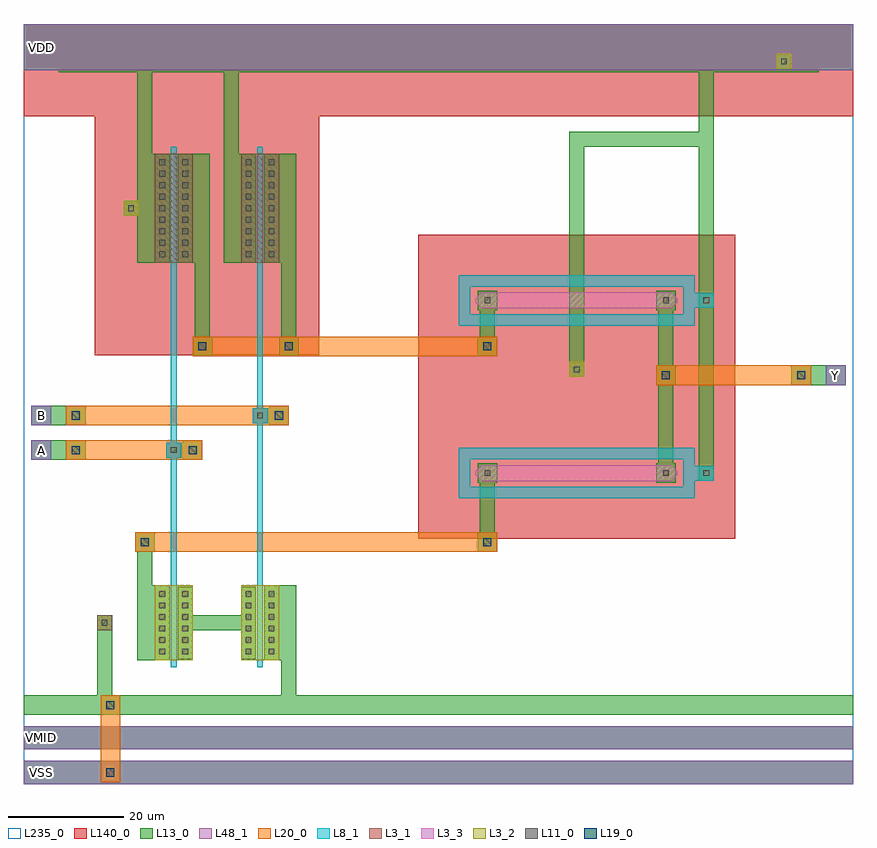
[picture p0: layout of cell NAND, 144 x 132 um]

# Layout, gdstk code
import gdstk
lib = gdstk.Library(unit=1e-6, precision=1e-09)
def R(c, l, rs):  # rectangles x0, y0, x1, y1
    for r in rs: c.add(gdstk.rectangle(r[:2], r[2:], *l))
def A(c, l, x, y, w, h, nx, ny, dx, dy):  # array of equal rectangles
    R(c, l, [(x+i*dx, y+j*dy, x+i*dx+w, y+j*dy+h) for i in range(nx) for j in range(ny)])
def P(c, l, *ps):  # polygons
    for p in ps: c.add(gdstk.Polygon(p, *l))
L3_1 = (3, 1)
L3_2 = (3, 2)
L3_3 = (3, 3)
L8_1 = (8, 1)
L11_0 = (11, 0)
L13_0 = (13, 0)
L19_0 = (19, 0)
L20_0 = (20, 0)
L48_1 = (48, 1)
L140_0 = (140, 0)
L235_0 = (235, 0)

fet_p__nand = lib.new_cell('fet_p__NAND')
R(fet_p__nand, L3_1, [(-3.3,-9.5,3.3,9.5)])
A(fet_p__nand, L11_0, -2.5, -8.5, 1, 1, 1, 9, 0, 2)
A(fet_p__nand, L11_0, 1.5, -8.5, 1, 1, 1, 9, 0, 2)
R(fet_p__nand, L13_0, [(-3.3,-9.3,-0.7,9.3), (0.7,-9.3,3.3,9.3)])
fet_p__nand.add(gdstk.FlexPath([(0,-10.7),(0,10.7)], 1, ends="flush", simple_path=True, layer=8, datatype=1))  # L8_1

fet_n__nand = lib.new_cell('fet_n__NAND')
R(fet_n__nand, L3_2, [(-3.3,-6.5,3.3,6.5)])
A(fet_n__nand, L11_0, -2.5, -5.5, 1, 1, 1, 6, 0, 2)
A(fet_n__nand, L11_0, 1.5, -5.5, 1, 1, 1, 6, 0, 2)
R(fet_n__nand, L13_0, [(-3.3,-6.3,-0.7,6.3), (0.7,-6.3,3.3,6.3)])
fet_n__nand.add(gdstk.FlexPath([(0,-7.7),(0,7.7)], 1, ends="flush", simple_path=True, layer=8, datatype=1))  # L8_1

res_diff__nand = lib.new_cell('res_diff__NAND')
P(res_diff__nand, L3_3, [(-16.5,-1.4),(-17.5,-0.4),(-17.5,0.4),(-16.5,1.4),(16.5,1.4),(17.5,0.4),(17.5,-0.4),(16.5,-1.4)])
P(res_diff__nand, L8_1, [(-20.5,-4.4),(-20.5,2.4),(-18.5,2.4),(-18.5,-2.4),(18.5,-2.4),(18.5,2.4),(-20.5,2.4),(-20.5,4.4),(20.5,4.4),(20.5,-4.4)])
R(res_diff__nand, L11_0, [(-16,-0.5,-15,0.5), (15,-0.5,16,0.5)])
R(res_diff__nand, L13_0, [(-17.2,-1.7,-13.8,1.7), (13.8,-1.7,17.2,1.7)])

cont_n__nand = lib.new_cell('cont_n__NAND')
R(cont_n__nand, L3_2, [(-1.3,-1.3,1.3,1.3)])
R(cont_n__nand, L11_0, [(-0.5,-0.5,0.5,0.5)])
R(cont_n__nand, L13_0, [(-1.3,-1.3,1.3,1.3)])

cont_p__nand = lib.new_cell('cont_p__NAND')
R(cont_p__nand, L3_1, [(-1.3,-1.3,1.3,1.3)])
R(cont_p__nand, L11_0, [(-0.5,-0.5,0.5,0.5)])
R(cont_p__nand, L13_0, [(-1.3,-1.3,1.3,1.3)])

cont_g__nand = lib.new_cell('cont_g__NAND')
R(cont_g__nand, L8_1, [(-1.3,-1.3,1.3,1.3)])
R(cont_g__nand, L11_0, [(-0.5,-0.5,0.5,0.5)])
R(cont_g__nand, L13_0, [(-1.3,-1.3,1.3,1.3)])

via_1__nand = lib.new_cell('via_1__NAND')
R(via_1__nand, L13_0, [(-1.7,-1.7,1.7,1.7)])
R(via_1__nand, L19_0, [(-0.7,-0.7,0.7,0.7)])
R(via_1__nand, L20_0, [(-1.7,-1.7,1.7,1.7)])

nand = lib.new_cell('NAND')
R(nand, L8_1, [(25.5,27.5,26.5,100.5), (40.5,27.5,41.5,100.5), (115.2,52.7,119.8,55.3), (115.2,82.7,119.8,85.3)])
R(nand, L13_0, [(0,0,144,4), (0,6,144,10), (0,12,144,15.4), (6,12,138,15.4), (12.7,12.4,15.3,29.3), (44.7,12.4,47.3,29.3), (19.7,21.5,25.3,34.5), (41.7,21.5,47.3,34.5), (19.7,26.7,25.3,29.3), (19.7,26.7,22.3,43.3), (26.7,26.7,40.3,29.3), (41.7,26.7,47.3,29.3), (79.2,40.7,81.8,55.3), (110.2,52.7,112.8,85.3), (117.2,52.7,119.8,113.3), (1.3,56.3,10.7,59.7), (1.3,56.3,4.7,59.7), (24.7,56.7,30.6,59.3), (1.3,62.3,10.7,65.7), (1.3,62.3,4.7,65.7), (39.7,62.7,45.6,65.3), (133.3,69.3,142.7,72.7), (139.3,69.3,142.7,72.7), (94.7,70.7,97.3,113.3), (29.7,74.7,32.3,101.3), (44.7,74.7,47.3,101.3), (79.2,74.7,81.8,85.3), (19.7,90.5,25.3,109.5), (26.7,90.5,32.3,109.5), (34.7,90.5,40.3,109.5), (41.7,90.5,47.3,109.5), (17.3,98.7,22.3,101.3), (19.7,98.7,22.3,126.6), (19.7,98.7,22.3,126.6), (19.7,98.7,25.3,101.3), (26.7,98.7,32.3,101.3), (34.7,98.7,37.3,126.6), (34.7,98.7,40.3,101.3), (41.7,98.7,47.3,101.3), (94.7,110.7,119.8,113.3), (117.2,110.7,119.8,126.6), (6,123.6,138,127), (0,124,144,132), (130.7,124.2,133.3,129.3)])
R(nand, L20_0, [(13.3,0.3,16.7,15.4), (19.3,40.3,82.2,43.7), (7.3,56.3,31,59.7), (7.3,62.3,46,65.7), (109.8,69.3,136.7,72.7), (29.3,74.3,82.2,77.7)])
R(nand, L48_1, [(0,0,144,4), (0,6,144,10), (1.3,56.3,4.7,59.7), (1.3,62.3,4.7,65.7), (139.3,69.3,142.7,72.7), (0,124,144,132)])
R(nand, L140_0, [(68.5,42.6,123.5,95.4), (12.3,74.5,51.3,125.5), (0,116,144,132)])
R(nand, L235_0, [(0,0,144,132)])
nand.add(gdstk.Reference(fet_p__nand, (26,100)))
nand.add(gdstk.Reference(fet_n__nand, (26,28)))
nand.add(gdstk.Reference(fet_p__nand, (41,100)))
nand.add(gdstk.Reference(fet_n__nand, (41,28)))
nand.add(gdstk.Reference(res_diff__nand, (96,84)))
nand.add(gdstk.Reference(res_diff__nand, (96,54)))
nand.add(gdstk.Reference(cont_n__nand, (18.6,100)))
nand.add(gdstk.Reference(cont_n__nand, (96,72)))
nand.add(gdstk.Reference(cont_p__nand, (14,28)))
nand.add(gdstk.Reference(cont_g__nand, (118.5,54)))
nand.add(gdstk.Reference(cont_g__nand, (118.5,84)))
nand.add(gdstk.Reference(via_1__nand, (31,76)))
nand.add(gdstk.Reference(via_1__nand, (46,76)))
nand.add(gdstk.Reference(via_1__nand, (21,42)))
nand.add(gdstk.Reference(cont_g__nand, (26,58)))
nand.add(gdstk.Reference(via_1__nand, (29.3,58)))
nand.add(gdstk.Reference(cont_g__nand, (41,64)))
nand.add(gdstk.Reference(via_1__nand, (44.3,64)))
nand.add(gdstk.Reference(via_1__nand, (80.5,76)))
nand.add(gdstk.Reference(via_1__nand, (80.5,42)))
nand.add(gdstk.Reference(via_1__nand, (111.5,71)))
nand.add(gdstk.Reference(via_1__nand, (9,58)))
nand.add(gdstk.Reference(via_1__nand, (9,64)))
nand.add(gdstk.Reference(via_1__nand, (135,71)))
nand.add(gdstk.Reference(cont_n__nand, (132,125.5)))
nand.add(gdstk.Reference(via_1__nand, (15,13.7)))
nand.add(gdstk.Reference(via_1__nand, (15,2)))
nand.add(gdstk.Label('A', (3,58), layer=48, texttype=0))
nand.add(gdstk.Label('B', (3,64), layer=48, texttype=0))
nand.add(gdstk.Label('Y', (141,71), layer=48, texttype=0))
nand.add(gdstk.Label('VDD', (3,128), layer=48, texttype=0))
nand.add(gdstk.Label('VMID', (3,8), layer=48, texttype=0))
nand.add(gdstk.Label('VSS', (3,2), layer=48, texttype=0))

lib.write_gds('NAND.gds')
